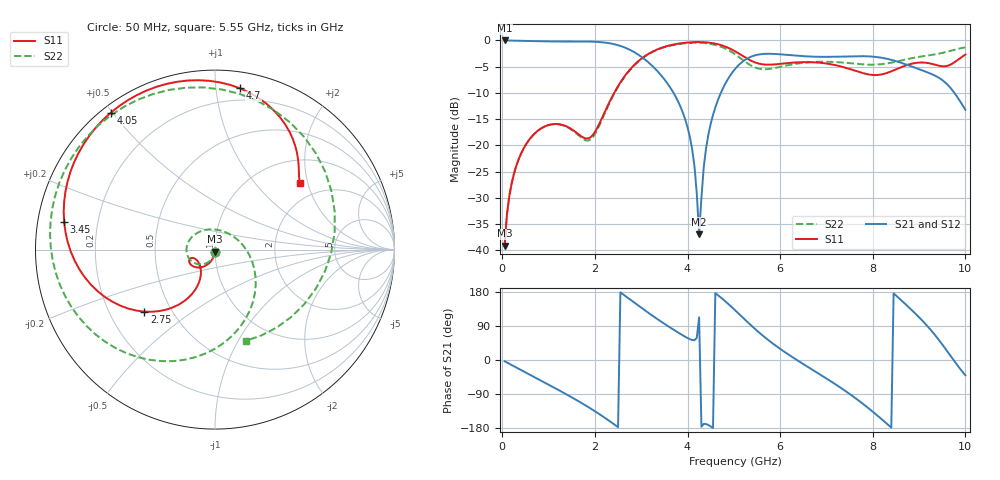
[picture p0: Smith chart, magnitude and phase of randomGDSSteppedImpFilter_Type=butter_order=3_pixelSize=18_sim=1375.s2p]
! freq	dB(S11)	phase(S11)	dB(S12)	phase(S12)
!  dB(S21)	phase(S21)	dB(S22)	phase(S22)
!S-par simulation data
#  GHz  S  DB  R 50
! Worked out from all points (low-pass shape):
!   200 points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, 50 MHz to 10 GHz, reference 50 ohm
!   highest |S21| = 0.00 dB at 50 MHz (marker M1); lowest = -37.0 dB at 4.25 GHz (marker M2)
!   |S21| within 3 dB of the highest: start of sweep to 2.984 GHz; 5.4 GHz to 6.502 GHz (1.102 GHz wide, 18.5 % of centre) (the widest 2 of 3)
!   lowest |S11| = -39.2 dB at 50 MHz (marker M3), VSWR 1.02, Z = 49.9 - j1.1 ohm
!   |S11| at or under -10 dB: start of sweep to 2.417 GHz
!   |S22| runs from -39.2 to -0.4 dB; largest |S21 - S12| = 0
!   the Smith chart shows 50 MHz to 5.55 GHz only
!   S11 on the Smith chart (normalised r, x): 50 MHz: 1.00, -0.02; 2.75 GHz: 0.35, -0.34; 3.45 GHz: 0.08, +0.09; 4.05 GHz: 0.03, +0.50; 4.7 GHz: 0.11, +1.16; 5.55 GHz: 1.54, +1.78
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0.05  -39.16 -92.1  -0.00 -3.3  -0.00 -3.3  -39.23 -93.1
0.2  -27.34 -101.6  -0.03 -13.2  -0.03 -13.2  -27.35 -104.5
0.55  -19.31 -121.9  -0.10 -35.9  -0.10 -35.9  -19.32 -130.7
1.75  -18.52 -152.0  -0.21 -116.3  -0.21 -116.3  -18.82 98.9
2.75  -5.63 -138.7  -1.77 160.4  -1.77 160.4  -5.72 -83.7
3.4  -1.53 173.3  -6.35 103.7  -6.35 103.7  -1.60 -149.1
3.45  -1.37 169.6  -6.87 99.6  -6.87 99.6  -1.44 -153.7
4.05  -0.37 127.2  -18.39 55.0  -18.39 55.0  -0.48 152.3
4.25  -0.31 113.3  -37.00 112.7  -37.00 112.7  -0.45 132.9
4.4  -0.37 102.7  -20.57 -169.1  -20.57 -169.1  -0.55 117.3
4.7  -0.83 81.1  -10.40 166.8  -10.40 166.8  -1.13 80.9
5.05  -2.20 57.7  -5.20 128.7  -5.20 128.7  -2.78 26.5
5.55  -4.44 38.0  -2.67 72.0  -2.67 72.0  -5.40 -71.3
6.1  -4.38 16.7  -2.72 21.0  -2.72 21.0  -4.85 -155.2
6.7  -4.16 -22.7  -3.09 -25.9  -3.09 -25.9  -4.12 150.6
7.5  -5.44 -101.8  -3.03 -89.6  -3.03 -89.6  -4.33 101.1
7.95  -6.54 -171.2  -3.06 -131.4  -3.06 -131.4  -4.62 81.0
8.35  -6.06 112.8  -3.59 -173.1  -3.59 -173.1  -4.32 66.1
8.95  -4.26 4.8  -5.32 118.8  -5.32 118.8  -3.20 39.8
9.4  -4.76 -93.1  -6.98 57.3  -6.98 57.3  -2.57 19.5
9.7  -4.52 175.3  -9.29 7.2  -9.29 7.2  -1.92 6.1
10  -2.69 98.5  -13.23 -40.2  -13.23 -40.2  -1.34 -9.4
